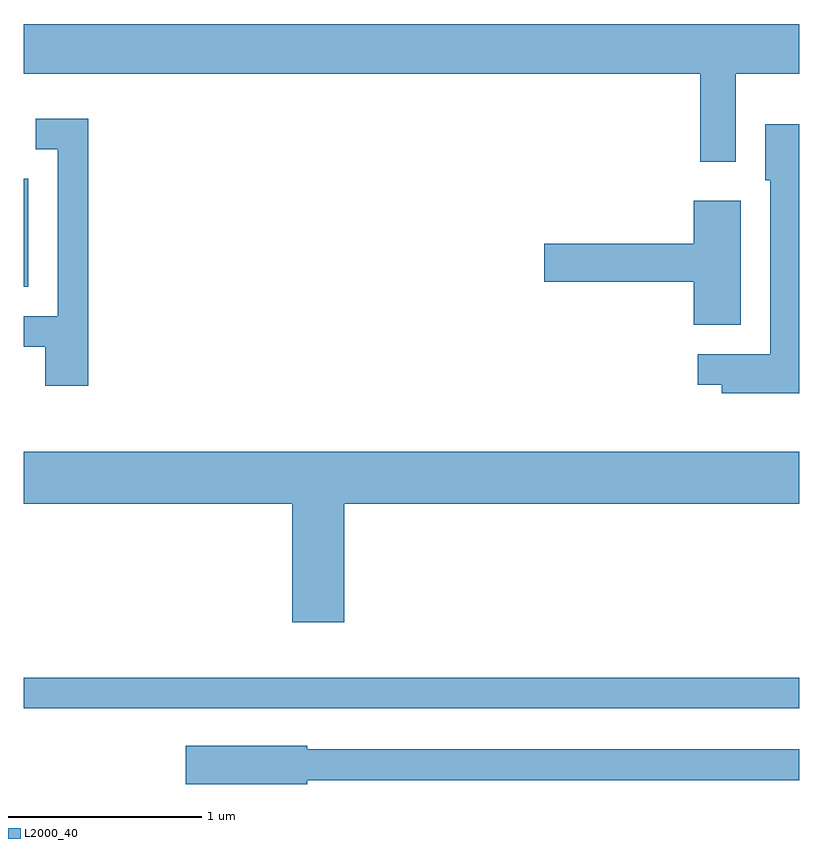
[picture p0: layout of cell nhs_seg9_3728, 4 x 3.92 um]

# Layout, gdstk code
import gdstk
lib = gdstk.Library(unit=1e-6, precision=1e-09)
def R(c, l, rs):  # rectangles x0, y0, x1, y1
    for r in rs: c.add(gdstk.rectangle(r[:2], r[2:], *l))
def P(c, l, *ps):  # polygons
    for p in ps: c.add(gdstk.Polygon(p, *l))
L2000_40 = (2000, 40)

nhs_seg9_3728 = lib.new_cell('nhs_seg9_3728')
R(nhs_seg9_3728, L2000_40, [(293.611,2072.901,297.611,2073.059), (293.611,2075.076,293.634,2075.634)])
P(nhs_seg9_3728, L2000_40, [(297.284,2076.176),(297.611,2076.176),(297.611,2076.432),(293.611,2076.432),(293.611,2076.176),(297.101,2076.176),(297.101,2075.721),(297.284,2075.721)],
  [(293.944,2075.944),(293.673,2075.944),(293.673,2075.786),(293.786,2075.786),(293.786,2074.924),(293.611,2074.924),(293.611,2074.766),(293.721,2074.766),(293.721,2074.566),(293.944,2074.566)],
  [(297.611,2075.914),(297.436,2075.914),(297.436,2075.626),(297.461,2075.626),(297.461,2074.729),(297.088,2074.729),(297.088,2074.571),(297.211,2074.571),(297.211,2074.526),(297.611,2074.526)],
  [(297.309,2075.519),(297.066,2075.519),(297.066,2075.299),(296.296,2075.299),(296.296,2075.101),(297.066,2075.101),(297.066,2074.881),(297.309,2074.881)],
  [(295.264,2073.956),(297.611,2073.956),(297.611,2074.224),(293.611,2074.224),(293.611,2073.956),(294.996,2073.956),(294.996,2073.346),(295.264,2073.346)],
  [(295.074,2072.531),(297.611,2072.531),(297.611,2072.689),(295.074,2072.689),(295.074,2072.709),(294.446,2072.709),(294.446,2072.511),(295.074,2072.511)])

lib.write_gds('nhs_seg9_3728.gds')
